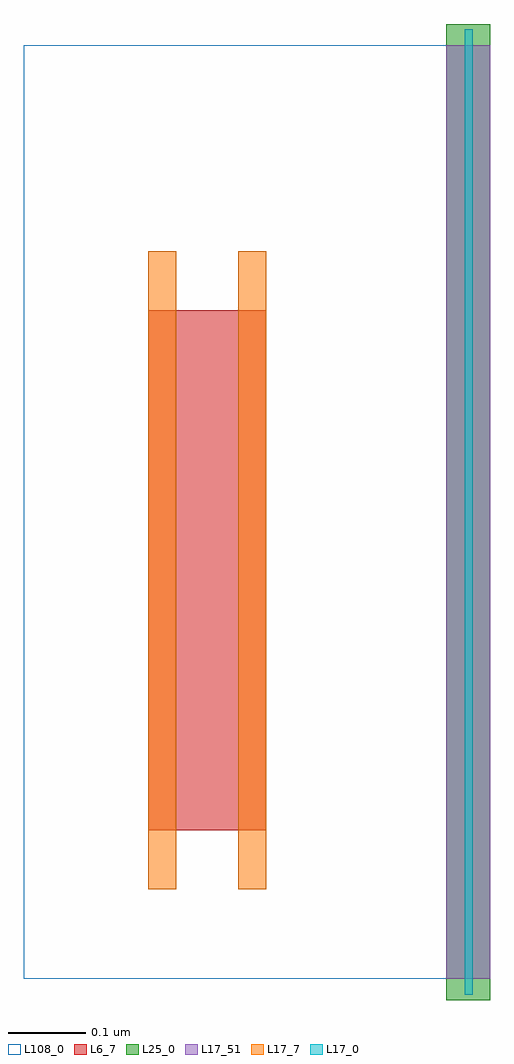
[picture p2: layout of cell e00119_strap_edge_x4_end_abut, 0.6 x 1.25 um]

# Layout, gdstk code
import gdstk
lib = gdstk.Library(unit=1e-6, precision=1e-09)
def R(c, l, rs):  # rectangles x0, y0, x1, y1
    for r in rs: c.add(gdstk.rectangle(r[:2], r[2:], *l))
L6_7 = (6, 7)
L17_0 = (17, 0)
L17_7 = (17, 7)
L17_51 = (17, 51)
L25_0 = (25, 0)
L108_0 = (108, 0)

e00119_cell91_wb1 = lib.new_cell('e00119_Cell91_WB1')

e00119_cell61_s6 = lib.new_cell('e00119_Cell61_S6')
R(e00119_cell61_s6, L6_7, [(0.07,0,0.222,0.188)])
R(e00119_cell61_s6, L17_7, [(0.07,0,0.106,0.264), (0.186,0,0.222,0.264)])

e00119_cell61_s3 = lib.new_cell('e00119_Cell61_S3')
R(e00119_cell61_s3, L6_7, [(0.07,0.101,0.222,0.281)])
R(e00119_cell61_s3, L17_7, [(0.07,0.025,0.106,0.281), (0.186,0.025,0.222,0.281)])

e00119_cell61_s0 = lib.new_cell('e00119_Cell61_S0')
R(e00119_cell61_s0, L6_7, [(0.07,0,0.222,0.03)])
R(e00119_cell61_s0, L17_7, [(0.07,0,0.106,0.03), (0.186,0,0.222,0.03)])

e00119_wdm1v_s0_ca_wb1 = lib.new_cell('e00119_WDM1V_S0_CA_WB1')

e00119_wdm1v_s4_ca = lib.new_cell('e00119_WDM1V_S4_CA')

e00119_wdm1v_s0_cb_wb1 = lib.new_cell('e00119_WDM1V_S0_CB_WB1')

e00119_wdm1v_s4_cb = lib.new_cell('e00119_WDM1V_S4_CB')

e00119_wdm2h_s0_ca_wb1 = lib.new_cell('e00119_WDM2H_S0_CA_WB1')

e00119_wdm2h_s0_cb_wb1 = lib.new_cell('e00119_WDM2H_S0_CB_WB1')

e00119_wdm3v_s0_ca_wb1 = lib.new_cell('e00119_WDM3V_S0_CA_WB1')

e00119_wdm3v_s4_ca = lib.new_cell('e00119_WDM3V_S4_CA')

e00119_wdm3v_s0_cb_wb1 = lib.new_cell('e00119_WDM3V_S0_CB_WB1')

e00119_wdm3v_s4_cb = lib.new_cell('e00119_WDM3V_S4_CB')

e00119_wdmr4h_wb1 = lib.new_cell('e00119_WDMR4H_WB1')

e00119_wdmr5v_wb1 = lib.new_cell('e00119_WDMR5V_WB1')

e00119_dv1o_ca_wb1 = lib.new_cell('e00119_DV1O_CA_WB1')

e00119_dv1o_cb_wb1 = lib.new_cell('e00119_DV1O_CB_WB1')

e00119_dv2o_wb1 = lib.new_cell('e00119_DV2O_WB1')

e00119_dv0o_wb1 = lib.new_cell('e00119_DV0O_WB1')

e00119_wdm0h_s0_ca_wb1 = lib.new_cell('e00119_WDM0H_S0_CA_WB1')

e00119_wdm0h_s0_cb_wb1 = lib.new_cell('e00119_WDM0H_S0_CB_WB1')

e00119_strap_edge_x4_end = lib.new_cell('e00119_strap_edge_x4_end_drc_bac')
e00119_strap_edge_x4_end.add(gdstk.Reference(e00119_cell91_wb1, (0.261,1.042)))
e00119_strap_edge_x4_end.add(gdstk.Reference(e00119_cell61_s6, (0.09,0.671)))
e00119_strap_edge_x4_end.add(gdstk.Reference(e00119_cell61_s3, (0.09,0.09)))
r = gdstk.Reference(e00119_cell61_s0, (0.09,0.371)); r.repetition = gdstk.Repetition(1, 10, v1=(0,0), v2=(0,0.03)); e00119_strap_edge_x4_end.add(r)
r = gdstk.Reference(e00119_wdm1v_s0_ca_wb1, (0.177,0.876)); r.repetition = gdstk.Repetition(2, 1, v1=(0.16,0), v2=(0,0)); e00119_strap_edge_x4_end.add(r)
r = gdstk.Reference(e00119_wdm1v_s4_ca, (0.177,0.144)); r.repetition = gdstk.Repetition(2, 1, v1=(0.16,0), v2=(0,0)); e00119_strap_edge_x4_end.add(r)
r = gdstk.Reference(e00119_wdm1v_s0_cb_wb1, (0.257,0.876)); r.repetition = gdstk.Repetition(2, 1, v1=(0.16,0), v2=(0,0)); e00119_strap_edge_x4_end.add(r)
r = gdstk.Reference(e00119_wdm1v_s4_cb, (0.257,0.144)); r.repetition = gdstk.Repetition(2, 1, v1=(0.16,0), v2=(0,0)); e00119_strap_edge_x4_end.add(r)
r = gdstk.Reference(e00119_wdm2h_s0_ca_wb1, (0.29,0.66)); r.repetition = gdstk.Repetition(1, 3, v1=(0,0), v2=(0,0.16)); e00119_strap_edge_x4_end.add(r)
r = gdstk.Reference(e00119_wdm2h_s0_ca_wb1, (0.144,0.18)); r.repetition = gdstk.Repetition(1, 3, v1=(0,0), v2=(0,0.16)); e00119_strap_edge_x4_end.add(r)
r = gdstk.Reference(e00119_wdm2h_s0_ca_wb1, (0.29,0.18)); r.repetition = gdstk.Repetition(1, 3, v1=(0,0), v2=(0,0.16)); e00119_strap_edge_x4_end.add(r)
r = gdstk.Reference(e00119_wdm2h_s0_ca_wb1, (0.144,0.66)); r.repetition = gdstk.Repetition(1, 3, v1=(0,0), v2=(0,0.16)); e00119_strap_edge_x4_end.add(r)
r = gdstk.Reference(e00119_wdm2h_s0_cb_wb1, (0.29,0.58)); r.repetition = gdstk.Repetition(1, 3, v1=(0,0), v2=(0,0.16)); e00119_strap_edge_x4_end.add(r)
r = gdstk.Reference(e00119_wdm2h_s0_cb_wb1, (0.144,0.26)); r.repetition = gdstk.Repetition(1, 2, v1=(0,0), v2=(0,0.16)); e00119_strap_edge_x4_end.add(r)
r = gdstk.Reference(e00119_wdm2h_s0_cb_wb1, (0.29,0.26)); r.repetition = gdstk.Repetition(1, 2, v1=(0,0), v2=(0,0.16)); e00119_strap_edge_x4_end.add(r)
r = gdstk.Reference(e00119_wdm2h_s0_cb_wb1, (0.144,0.58)); r.repetition = gdstk.Repetition(1, 3, v1=(0,0), v2=(0,0.16)); e00119_strap_edge_x4_end.add(r)
r = gdstk.Reference(e00119_wdm3v_s0_ca_wb1, (0.177,0.876)); r.repetition = gdstk.Repetition(2, 1, v1=(0.16,0), v2=(0,0)); e00119_strap_edge_x4_end.add(r)
r = gdstk.Reference(e00119_wdm3v_s4_ca, (0.177,0.144)); r.repetition = gdstk.Repetition(2, 1, v1=(0.16,0), v2=(0,0)); e00119_strap_edge_x4_end.add(r)
r = gdstk.Reference(e00119_wdm3v_s0_cb_wb1, (0.257,0.876)); r.repetition = gdstk.Repetition(2, 1, v1=(0.16,0), v2=(0,0)); e00119_strap_edge_x4_end.add(r)
r = gdstk.Reference(e00119_wdm3v_s4_cb, (0.257,0.144)); r.repetition = gdstk.Repetition(2, 1, v1=(0.16,0), v2=(0,0)); e00119_strap_edge_x4_end.add(r)
r = gdstk.Reference(e00119_wdmr4h_wb1, (0.172,0.169)); r.repetition = gdstk.Repetition(1, 7, v1=(0,0), v2=(0,0.134)); e00119_strap_edge_x4_end.add(r)
r = gdstk.Reference(e00119_wdmr5v_wb1, (0.181,0.657)); r.repetition = gdstk.Repetition(3, 1, v1=(0.134,0), v2=(0,0)); e00119_strap_edge_x4_end.add(r)
r = gdstk.Reference(e00119_wdmr5v_wb1, (0.181,0.263)); r.repetition = gdstk.Repetition(3, 1, v1=(0.134,0), v2=(0,0)); e00119_strap_edge_x4_end.add(r)
r = gdstk.Reference(e00119_dv1o_ca_wb1, (0.187,0.83)); r.repetition = gdstk.Repetition(1, 2, v1=(0,0), v2=(0,0.16)); e00119_strap_edge_x4_end.add(r)
r = gdstk.Reference(e00119_dv1o_ca_wb1, (0.347,0.19)); r.repetition = gdstk.Repetition(1, 2, v1=(0,0), v2=(0,0.48)); e00119_strap_edge_x4_end.add(r)
r = gdstk.Reference(e00119_dv1o_ca_wb1, (0.187,0.35)); r.repetition = gdstk.Repetition(1, 2, v1=(0,0), v2=(0,0.16)); e00119_strap_edge_x4_end.add(r)
r = gdstk.Reference(e00119_dv1o_cb_wb1, (0.347,0.35)); r.repetition = gdstk.Repetition(1, 2, v1=(0,0), v2=(0,0.16)); e00119_strap_edge_x4_end.add(r)
r = gdstk.Reference(e00119_dv1o_cb_wb1, (0.347,0.83)); r.repetition = gdstk.Repetition(1, 2, v1=(0,0), v2=(0,0.16)); e00119_strap_edge_x4_end.add(r)
r = gdstk.Reference(e00119_dv1o_cb_wb1, (0.187,0.19)); r.repetition = gdstk.Repetition(1, 2, v1=(0,0), v2=(0,0.48)); e00119_strap_edge_x4_end.add(r)
r = gdstk.Reference(e00119_dv2o_wb1, (0.347,0.19)); r.repetition = gdstk.Repetition(1, 6, v1=(0,0), v2=(0,0.16)); e00119_strap_edge_x4_end.add(r)
r = gdstk.Reference(e00119_dv2o_wb1, (0.187,0.19)); r.repetition = gdstk.Repetition(1, 6, v1=(0,0), v2=(0,0.16)); e00119_strap_edge_x4_end.add(r)
r = gdstk.Reference(e00119_dv0o_wb1, (0.347,0.19)); r.repetition = gdstk.Repetition(1, 6, v1=(0,0), v2=(0,0.16)); e00119_strap_edge_x4_end.add(r)
r = gdstk.Reference(e00119_dv0o_wb1, (0.187,0.19)); r.repetition = gdstk.Repetition(1, 6, v1=(0,0), v2=(0,0.16)); e00119_strap_edge_x4_end.add(r)
r = gdstk.Reference(e00119_wdm0h_s0_ca_wb1, (0.31,0.66)); r.repetition = gdstk.Repetition(1, 3, v1=(0,0), v2=(0,0.16)); e00119_strap_edge_x4_end.add(r)
r = gdstk.Reference(e00119_wdm0h_s0_ca_wb1, (0.144,0.18)); r.repetition = gdstk.Repetition(1, 3, v1=(0,0), v2=(0,0.16)); e00119_strap_edge_x4_end.add(r)
r = gdstk.Reference(e00119_wdm0h_s0_ca_wb1, (0.31,0.18)); r.repetition = gdstk.Repetition(1, 3, v1=(0,0), v2=(0,0.16)); e00119_strap_edge_x4_end.add(r)
r = gdstk.Reference(e00119_wdm0h_s0_ca_wb1, (0.144,0.66)); r.repetition = gdstk.Repetition(1, 3, v1=(0,0), v2=(0,0.16)); e00119_strap_edge_x4_end.add(r)
r = gdstk.Reference(e00119_wdm0h_s0_cb_wb1, (0.31,0.58)); r.repetition = gdstk.Repetition(1, 3, v1=(0,0), v2=(0,0.16)); e00119_strap_edge_x4_end.add(r)
r = gdstk.Reference(e00119_wdm0h_s0_cb_wb1, (0.144,0.26)); r.repetition = gdstk.Repetition(1, 2, v1=(0,0), v2=(0,0.16)); e00119_strap_edge_x4_end.add(r)
r = gdstk.Reference(e00119_wdm0h_s0_cb_wb1, (0.31,0.26)); r.repetition = gdstk.Repetition(1, 2, v1=(0,0), v2=(0,0.16)); e00119_strap_edge_x4_end.add(r)
r = gdstk.Reference(e00119_wdm0h_s0_cb_wb1, (0.144,0.58)); r.repetition = gdstk.Repetition(1, 3, v1=(0,0), v2=(0,0.16)); e00119_strap_edge_x4_end.add(r)

c_e00119_strap_edge_x4_end = lib.new_cell('e00119_strap_edge_x4_end_abut')
R(c_e00119_strap_edge_x4_end, L17_51, [(0.543,0,0.6,1.2)])
R(c_e00119_strap_edge_x4_end, L25_0, [(0.543,-0.027,0.6,1.227)])
R(c_e00119_strap_edge_x4_end, L108_0, [(0,0,0.6,1.2)])
c_e00119_strap_edge_x4_end.add(gdstk.FlexPath([(0.572,1.22),(0.572,-0.02)], 0.01, ends="flush", simple_path=True, layer=17, datatype=0))  # L17_0
c_e00119_strap_edge_x4_end.add(gdstk.Reference(e00119_strap_edge_x4_end, (0,0)))

lib.write_gds('e00119_strap_edge_x4_end_abut.gds')
